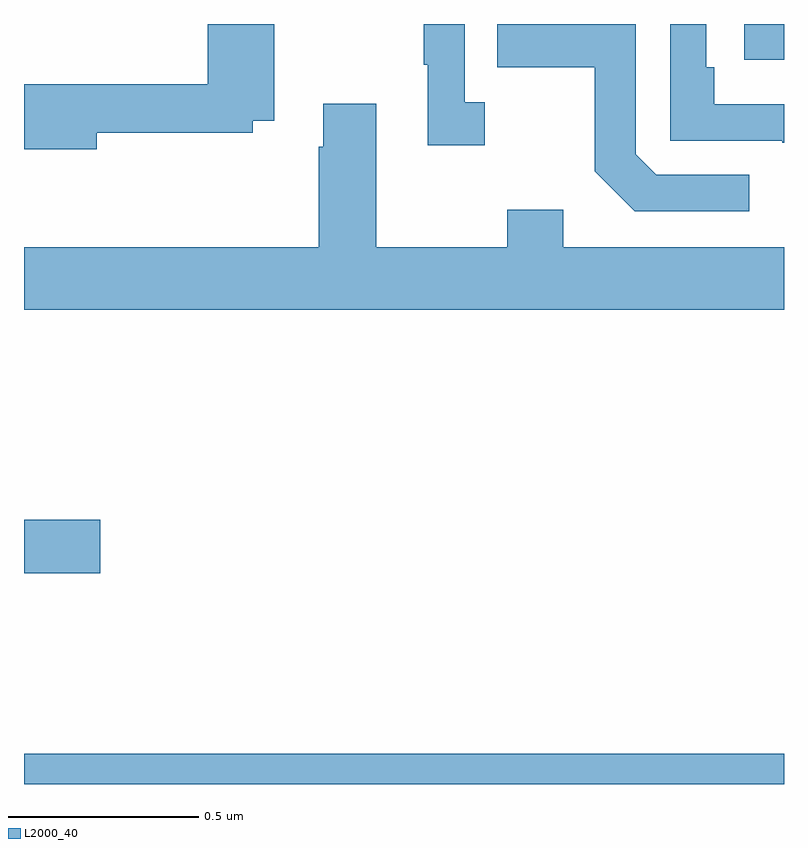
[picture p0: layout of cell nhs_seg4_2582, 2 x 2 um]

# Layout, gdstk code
import gdstk
lib = gdstk.Library(unit=1e-6, precision=1e-09)
def R(c, l, rs):  # rectangles x0, y0, x1, y1
    for r in rs: c.add(gdstk.rectangle(r[:2], r[2:], *l))
def P(c, l, *ps):  # polygons
    for p in ps: c.add(gdstk.Polygon(p, *l))
L2000_40 = (2000, 40)

nhs_seg4_2582 = lib.new_cell('nhs_seg4_2582')
R(nhs_seg4_2582, L2000_40, [(142,800.9,144,800.98), (142,801.454,142.201,801.596), (143.895,802.806,144,802.9)])
P(nhs_seg4_2582, L2000_40, [(143.908,802.503),(143.664,802.503),(143.61,802.557),(143.61,802.9),(143.245,802.9),(143.245,802.786),(143.502,802.786),(143.502,802.513),(143.607,802.407),(143.908,802.407)],
  [(144,802.689),(143.816,802.689),(143.816,802.786),(143.796,802.786),(143.796,802.9),(143.7,802.9),(143.7,802.593),(143.995,802.593),(143.995,802.588),(144,802.588)],
  [(143.212,802.694),(143.16,802.694),(143.16,802.9),(143.052,802.9),(143.052,802.793),(143.063,802.793),(143.063,802.581),(143.212,802.581)],
  [(142.192,802.614),(142.602,802.614),(142.602,802.646),(142.659,802.646),(142.659,802.9),(142.484,802.9),(142.484,802.742),(142,802.742),(142,802.571),(142.192,802.571)],
  [(144,802.312),(143.419,802.312),(143.419,802.411),(143.272,802.411),(143.272,802.312),(142.927,802.312),(142.927,802.69),(142.787,802.69),(142.787,802.577),(142.775,802.577),(142.775,802.312),(142,802.312),(142,802.148),(144,802.148)])

lib.write_gds('nhs_seg4_2582.gds')
